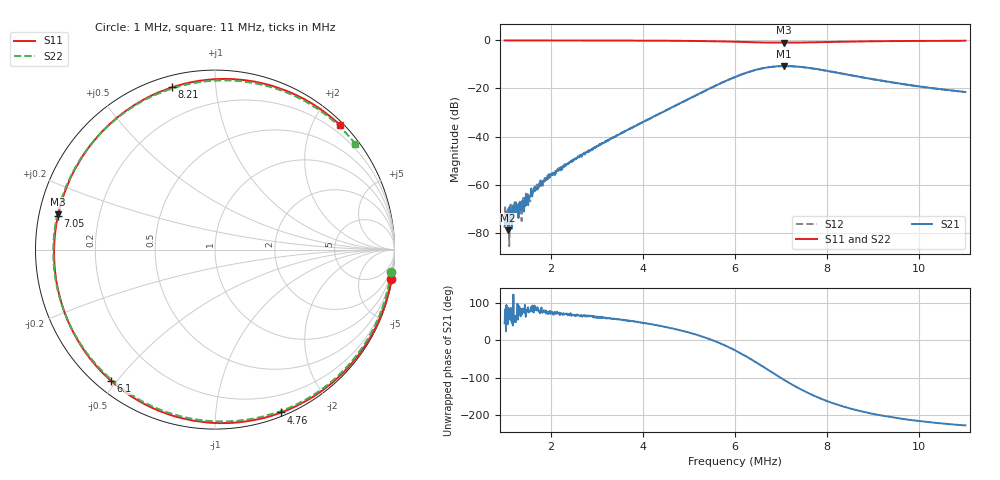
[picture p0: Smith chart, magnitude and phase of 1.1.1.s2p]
# MHz S DB R 50
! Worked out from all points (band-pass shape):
!   1001 points, 1 MHz to 11 MHz, reference 50 ohm
!   highest |S21| = -10.67 dB at 7.07 MHz (marker M1); lowest = -79.0 dB at 1.08 MHz (marker M2)
!   |S21| within 3 dB of the highest: 6.211 MHz to 8.288 MHz (2.077 MHz wide, 28.6 % of centre)
!   lowest |S11| = -1.0 dB at 7.06 MHz (marker M3), VSWR 18.05, Z = 2.8 + j5.55 ohm
!   |S11| at or under -10 dB: nowhere
!   |S22| runs from -0.9 to -0.1 dB; largest |S21 - S12| = 0.0043
!   S11 on the Smith chart (normalised r, x): 1 MHz: 0, -12; 4.76 MHz: 0.03, -1.49; 6.1 MHz: 0.04, -0.48; 7.05 MHz: 0.06, +0.10; 8.21 MHz: 0.05, +0.77; 11 MHz: 0.06, +2.42
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1  -0.03 -9.6  -77.43 44.9  -75.76 8.2  -0.11 -7.3
1.08  -0.03 -10.3  -78.99 86.4  -70.13 42.5  -0.11 -7.9
1.17  -0.03 -11.2  -72.99 46.8  -68.61 63.9  -0.11 -8.5
1.24  -0.03 -11.8  -70.06 48.2  -71.17 66.5  -0.11 -9.0
1.33  -0.04 -12.7  -67.64 69.0  -67.05 72.0  -0.11 -9.7
1.43  -0.03 -13.7  -66.62 72.9  -66.88 88.3  -0.11 -10.3
1.81  -0.04 -17.5  -59.72 75.4  -58.89 69.4  -0.11 -13.2
2.67  -0.04 -27.2  -48.36 67.4  -48.17 66.9  -0.09 -20.6
4.34  -0.13 -56.4  -30.71 39.2  -30.67 38.4  -0.15 -43.9
4.76  -0.18 -67.8  -26.62 27.9  -26.60 27.4  -0.18 -53.9
5.46  -0.33 -94.1  -19.90 2.3  -19.92 1.5  -0.31 -78.6
6  -0.55 -122.3  -15.21 -26.9  -15.22 -27.7  -0.51 -109.0
6.1  -0.60 -128.3  -14.46 -33.3  -14.46 -34.1  -0.56 -116.1
6.62  -0.87 -162.7  -11.52 -71.5  -11.53 -72.2  -0.85 -159.5
7.05  -0.96 168.0  -10.68 -104.7  -10.69 -105.5  -0.92 161.5
7.06  -0.96 167.3  -10.68 -105.4  -10.68 -106.2  -0.91 160.6
7.07  -0.96 166.7  -10.67 -106.2  -10.68 -107.0  -0.91 159.7
7.37  -0.91 147.5  -10.93 -127.3  -10.93 -128.1  -0.84 135.5
7.67  -0.79 130.3  -11.61 -145.7  -11.61 -146.5  -0.71 115.3
8.21  -0.58 104.7  -13.39 -171.6  -13.40 -172.4  -0.51 88.5
9.34  -0.30 70.5  -17.26 155.7  -17.27 154.9  -0.28 57.4
11  -0.15 45.0  -21.47 132.5  -21.48 131.6  -0.19 37.0
